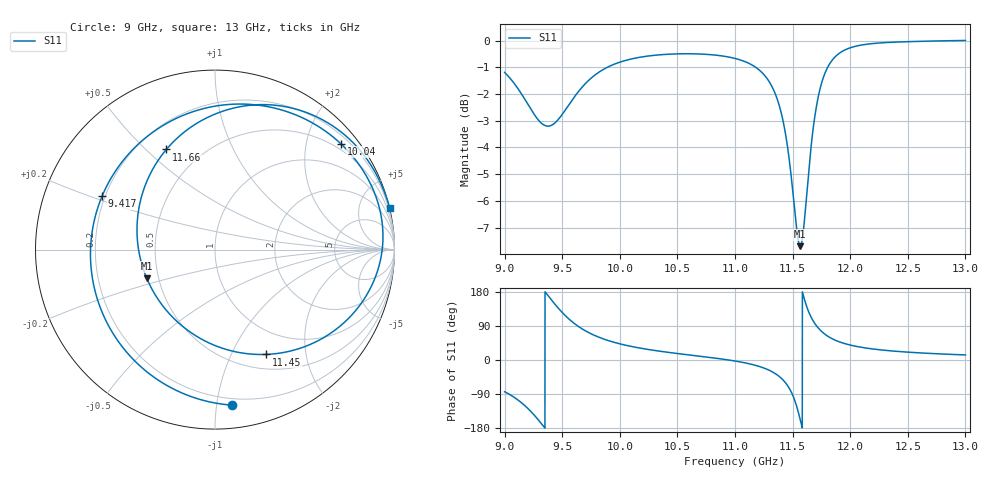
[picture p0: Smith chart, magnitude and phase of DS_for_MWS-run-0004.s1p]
! TOUCHSTONE file generated by CST DESIGN STUDIO
! Date and time: Tue Feb  4 18:15:32 2025
! Project name: C:\Work\MatlabApps\UnitCellOptimizationMatlab\CST\unitcell.cst
! Tree item: Tasks\Sweep1\SPara1\S-Parameters
! Header version: 2024
! Port assignment regex: !\s*Touchstone port\s*([0-9]+)\s*=\s*(CST MWS port|CST DES external port|CST DES block port)\s*(.+)\s* \(\"(.*)\"\)(\s*mode\s*([0-9]+))?.*
! Touchstone port assignment:
! Touchstone port 1 = CST DES external port 1 ("")
# GHz S MA R 50
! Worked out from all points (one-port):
!   4001 points, 9 GHz to 13 GHz, reference 50 ohm
!   lowest |S11| = -7.7 dB at 11.57 GHz (marker M1), VSWR 2.40, Z = 21.5 - j8.3 ohm
!   |S11| at or under -10 dB: nowhere
!   S11 on the Smith chart (normalised r, x): 9 GHz: 0.15, -1.10; 9.417 GHz: 0.19, +0.22; 10.04 GHz: 0.37, +2.71; 11.45 GHz: 0.68, -1.37; 11.66 GHz: 0.32, +0.58; 13 GHz: -0.02, +8.58
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9  0.8719 -83.7
9.105  0.8193 -103.1
9.196  0.7638 -126.1
9.314  0.7023 -165.9
9.417  0.6961 154.6
9.5  0.7275 125.4
9.583  0.7723 101.7
9.678  0.8206 81.2
9.827  0.875 59.1
10  0.9112 42.7
10.037  0.9164 40.0
10.5  0.9443 17.1
11  0.9259 -2.6
11.287  0.8441 -25.7
11.375  0.7674 -41.3
11.448  0.6499 -64.0
11.5  0.5266 -92.1
11.532  0.4507 -118.9
11.566  0.4125 -157.1
11.608  0.4743 154.5
11.656  0.6202 115.9
11.721  0.7816 85.1
11.812  0.8974 61.5
11.895  0.943 49.2
12  0.9693 39.5
12.196  0.9872 29.1
12.5  0.9952 20.7
13  1 13.3
